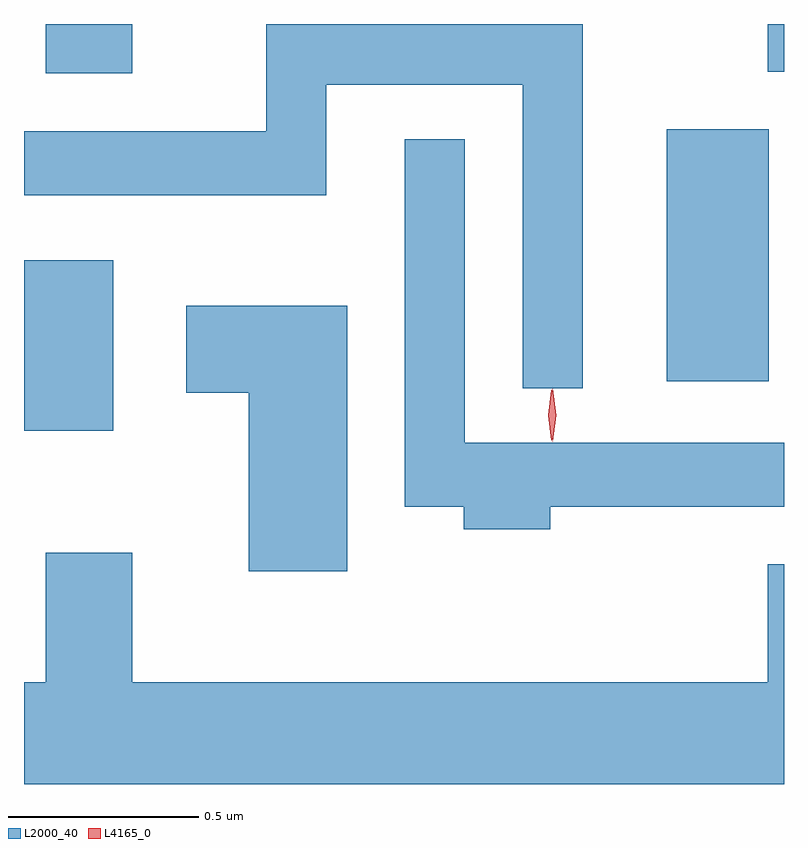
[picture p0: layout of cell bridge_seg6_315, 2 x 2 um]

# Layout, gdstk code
import gdstk
lib = gdstk.Library(unit=1e-6, precision=1e-09)
def R(c, l, rs):  # rectangles x0, y0, x1, y1
    for r in rs: c.add(gdstk.rectangle(r[:2], r[2:], *l))
def P(c, l, *ps):  # polygons
    for p in ps: c.add(gdstk.Polygon(p, *l))
L2000_40 = (2000, 40)
L4165_0 = (4165, 0)

bridge_seg6_315 = lib.new_cell('bridge_seg6_315')
R(bridge_seg6_315, L2000_40, [(1246.234,1562.066,1246.469,1562.514), (1247.926,1562.196,1248.194,1562.859), (1246.291,1563.006,1246.519,1563.136), (1248.191,1563.011,1248.234,1563.136)])
P(bridge_seg6_315, L2000_40, [(1247.704,1563.136),(1246.871,1563.136),(1246.871,1562.854),(1246.234,1562.854),(1246.234,1562.686),(1247.029,1562.686),(1247.029,1562.976),(1247.546,1562.976),(1247.546,1562.178),(1247.704,1562.178)],
  [(1247.619,1561.866),(1248.234,1561.866),(1248.234,1562.034),(1247.394,1562.034),(1247.394,1562.833),(1247.236,1562.833),(1247.236,1561.866),(1247.391,1561.866),(1247.391,1561.806),(1247.619,1561.806)],
  [(1247.084,1562.394),(1246.661,1562.394),(1246.661,1562.166),(1246.826,1562.166),(1246.826,1561.696),(1247.084,1561.696)],
  [(1248.234,1561.714),(1248.191,1561.714),(1248.191,1561.404),(1246.519,1561.404),(1246.519,1561.744),(1246.291,1561.744),(1246.291,1561.404),(1246.234,1561.404),(1246.234,1561.136),(1248.234,1561.136)])
P(bridge_seg6_315, L4165_0, [(1247.625,1562.037),(1247.625,1562.038),(1247.615,1562.107),(1247.625,1562.176),(1247.625,1562.176),(1247.626,1562.176),(1247.635,1562.107),(1247.626,1562.038)],
  [(1247.622,1562.04),(1247.622,1562.04),(1247.613,1562.106),(1247.622,1562.172),(1247.623,1562.173),(1247.623,1562.172),(1247.632,1562.106),(1247.623,1562.04)])

lib.write_gds('bridge_seg6_315.gds')
